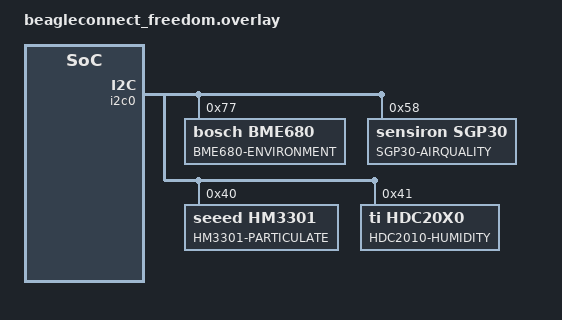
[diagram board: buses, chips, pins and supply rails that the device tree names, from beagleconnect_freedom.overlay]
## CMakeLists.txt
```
# SPDX-License-Identifier: Apache-2.0

cmake_minimum_required(VERSION 3.13.1)

find_package(Zephyr REQUIRED HINTS $ENV{ZEPHYR_BASE})
project(zperf)

target_sources(app PRIVATE
  src/main.c
  src/shell_utils.c
  src/zperf_session.c
  src/zperf_shell.c
  src/zperf_udp_receiver.c
  src/zperf_udp_uploader.c
  src/zperf_tcp_receiver.c
  src/zperf_tcp_uploader.c
  src/btn_actions.c
  src/shell_fbdev.c
  src/tft_terminal.c
  )

target_include_directories(app PRIVATE
  ${ZEPHYR_BASE}/subsys/net/ip
  )
  target_include_directories(app PRIVATE ${ZEPHYR_BASE}/drivers/display)
```

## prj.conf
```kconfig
CONFIG_SERIAL=y
CONFIG_SPI=y
CONFIG_I2C=y
CONFIG_GPIO=y
CONFIG_CONSOLE=y
CONFIG_UART_CONSOLE=y
CONFIG_CONSOLE_SUBSYS=y
CONFIG_CONSOLE_GETCHAR=y
CONFIG_ENTROPY_GENERATOR=y
# This does not seem to be working atm
# CONFIG_FLASH=y
# CONFIG_SPI_NOR=y
CONFIG_LED=y
CONFIG_LOG=y
CONFIG_LOG_IMMEDIATE=y
CONFIG_SHELL=y
CONFIG_GPIO_SHELL=y
CONFIG_SENSOR=y
CONFIG_OPT3001=y
CONFIG_LIS2DH=y
CONFIG_LIS2DH_OPER_MODE_LOW_POWER=n
CONFIG_HDC20X0=y
CONFIG_BME680=y
CONFIG_IEEE802154=y
CONFIG_NETWORKING=y
CONFIG_NET_HOSTNAME_ENABLE=y
CONFIG_NET_IF_UNICAST_IPV6_ADDR_COUNT=4
CONFIG_NET_IF_MCAST_IPV6_ADDR_COUNT=5
CONFIG_NET_SHELL=y
CONFIG_NET_TCP=y
CONFIG_NET_TCP1=y
CONFIG_NET_MAX_CONN=8
CONFIG_NET_MAX_CONTEXTS=5
CONFIG_NET_CONTEXT_SYNC_RECV=y
CONFIG_NET_CONTEXT_NET_PKT_POOL=y
CONFIG_NET_PKT_RX_COUNT=14
CONFIG_NET_PKT_TX_COUNT=128
CONFIG_NET_BUF_RX_COUNT=28
CONFIG_NET_BUF_TX_COUNT=128
CONFIG_NET_STATISTICS=y
CONFIG_NET_LOG=y
CONFIG_MDNS_RESPONDER=y
CONFIG_DNS_SD=y
CONFIG_NET_CONFIG_AUTO_INIT=y
CONFIG_NET_CONFIG_SETTINGS=y
CONFIG_NET_CONFIG_MY_IPV6_ADDR="2001:db8::1"
CONFIG_NET_CONFIG_PEER_IPV6_ADDR="2001:db8::2"
CONFIG_NET_SOCKETS=y
CONFIG_NET_SOCKETS_POSIX_NAMES=y
CONFIG_NET_SOCKETS_POLL_MAX=8
CONFIG_NET_CONNECTION_MANAGER=y
CONFIG_NET_CONFIG_NEED_IPV6=y
CONFIG_NET_CONFIG_NEED_IPV4=n
CONFIG_NET_L2_IEEE802154=y
CONFIG_NET_L2_IEEE802154_SHELL=y
CONFIG_NET_L2_IEEE802154_LOG_LEVEL_INF=y
CONFIG_NET_CONFIG_IEEE802154_CHANNEL=26
CONFIG_NET_CONFIG_IEEE802154_DEV_NAME="IEEE802154_0"
#CONFIG_NET_CONFIG_IEEE802154_CHANNEL=1
#CONFIG_NET_CONFIG_IEEE802154_DEV_NAME="IEEE802154_1"
CONFIG_IEEE802154_CC13XX_CC26XX=y
CONFIG_IEEE802154_CC13XX_CC26XX_SUB_GHZ=n
#CONFIG_IEEE802154_DRIVER_LOG_LEVEL_DBG=y
CONFIG_IEEE802154_DRIVER_LOG_LEVEL_WRN=y
#CONFIG_IEEE802154_CC13XX_CC26XX=n
#CONFIG_IEEE802154_CC13XX_CC26XX_SUB_GHZ=y

# Hacks
CONFIG_NEWLIB_LIBC=y
CONFIG_POSIX_MAX_FDS=16
CONFIG_PTHREAD_IPC=y
CONFIG_MAX_PTHREAD_COUNT=16
CONFIG_PTHREAD_DYNAMIC_STACK=y
CONFIG_NET_IPV6_FRAGMENT=y
CONFIG_NET_L2_IEEE802154_FRAGMENT_REASS_CACHE_SIZE=6
```

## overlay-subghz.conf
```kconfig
CONFIG_IEEE802154_CC13XX_CC26XX=n
CONFIG_IEEE802154_CC13XX_CC26XX_SUB_GHZ=y
CONFIG_NET_CONFIG_IEEE802154_DEV_NAME="IEEE802154_1"
CONFIG_NET_CONFIG_IEEE802154_CHANNEL=1
CONFIG_NET_CONFIG_IEEE802154_RADIO_TX_POWER=20
CONFIG_IEEE802154_CC13XX_CC26XX_SUB_GHZ_NUM_RX_BUF=6
CONFIG_IEEE802154_CC13XX_CC26XX_SUB_GHZ_DIV_SETUP_PA=1
```

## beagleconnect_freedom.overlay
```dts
/*
 * Copyright (c) 2020, Jason Kridner, BeagleBoard.org Foundation
 *
 * SPDX-License-Identifier: Apache-2.0
 */

&i2c0 {
	// Grove module defaults to 0x76
	// Environment Click defaults to 0x76
	environment: bme680@77 {
		compatible = "bosch,bme680";
		reg = <0x77>;
		label = "BME680-ENVIRONMENT";
	};

	airquality: sgp30@58 {
		compatible = "sensiron,sgp30";
		reg = <0x58>;
		label = "SGP30-AIRQUALITY";
	};

	particulate: hm3301@40 {
		compatible = "seeed,hm3301";
		reg = <0x40>;
		label = "HM3301-PARTICULATE";
	};
    	humidity: hdc2010-humidity@41 {
        	compatible = "ti,hdc20x0";
        	reg = <0x41>;
        	/* drdy-gpios = <&gpio0 7 GPIO_ACTIVE_LOW>; */
        	label = "HDC2010-HUMIDITY";
    	}; 
};
```

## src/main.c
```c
/*
 * Copyright (c) 2020 Nordic Semiconductor ASA
 *
 * SPDX-License-Identifier: Apache-2.0
 */

/**
 * @file
 * @brief Zperf sample.
 */


#include <zephyr.h>
#include <device.h>
#include <drivers/gpio.h>
#include <drivers/led.h>
#include <drivers/sensor.h>
#include <drivers/spi.h>
#include <stdio.h>
#include <stdbool.h>
#include <stdint.h>
#include <string.h>
#include <net/net_ip.h>
#include <net/socket.h>
#include <sys/util.h>
#include "shell/shell_uart.h"

#include "icmpv6.h"
#include "ipv6.h"
#include "connection.h"


#define LOG_LEVEL LOG_LEVEL_INF
#include <logging/log.h>
LOG_MODULE_REGISTER(rftest);


#include "net_private.h"

#define LED0_NODE DT_ALIAS(led0)
#define LED0	DT_GPIO_LABEL(LED0_NODE, gpios)
#define PIN	DT_GPIO_PIN(LED0_NODE, gpios)
#define FLAGS	DT_GPIO_FLAGS(LED0_NODE, gpios)

#define LED1_NODE DT_ALIAS(led1)
#define LED1	DT_GPIO_LABEL(LED1_NODE, gpios)
#define PIN1	DT_GPIO_PIN(LED1_NODE, gpios)
#define FLAGS1	DT_GPIO_FLAGS(LED1_NODE, gpios)


#define SW0_NODE	DT_ALIAS(sw0)
#define SW0_GPIO_LABEL	DT_GPIO_LABEL(SW0_NODE, gpios)
#define SW0_GPIO_PIN	DT_GPIO_PIN(SW0_NODE, gpios)
#define SW0_GPIO_FLAGS	(GPIO_INPUT | DT_GPIO_FLAGS(SW0_NODE, gpios))




static struct device *led0_d;
static struct device *led1_d;
static struct device *btn_d;
static bool led_is_on = true;
static struct k_delayed_work dwork;
static bool is_btn = false;

K_SEM_DEFINE(test_ping_timeout, 0, 1);
extern uint32_t z_impl_sys_rand32_get(void);

static enum net_verdict handle_ipv6_echo_reply(struct net_pkt *pkt,
					       struct net_ipv6_hdr *ip_hdr,
					       struct net_icmp_hdr *icmp_hdr)
{
	NET_PKT_DATA_ACCESS_CONTIGUOUS_DEFINE(icmp_access,
					      struct net_icmpv6_echo_req);
	struct net_icmpv6_echo_req *icmp_echo;
	uint32_t cycles;

	icmp_echo = (struct net_icmpv6_echo_req *)net_pkt_get_data(pkt,
								&icmp_access);
	if (icmp_echo == NULL) {
		return -NET_DROP;
	}

	net_pkt_skip(pkt, sizeof(*icmp_echo));
	if (net_pkt_read_be32(pkt, &cycles)) {
		return -NET_DROP;
	}

	cycles = k_cycle_get_32() - cycles;

	printk("%d bytes from %s to %s: icmp_seq=%d ttl=%d "
#ifdef CONFIG_IEEE802154
		 "rssi=%d "
#endif
#ifdef CONFIG_FPU
		 "time=%.2f ms\n",
#else
		 "time=%d ms\n",
#endif
		 ntohs(ip_hdr->len) - net_pkt_ipv6_ext_len(pkt) -
								NET_ICMPH_LEN,
		 net_sprint_ipv6_addr(&ip_hdr->src),
		 net_sprint_ipv6_addr(&ip_hdr->dst),
		 ntohs(icmp_echo->sequence),
		 ip_hdr->hop_limit,
#ifdef CONFIG_IEEE802154
		 net_pkt_ieee802154_rssi(pkt),
#endif
#ifdef CONFIG_FPU
		 ((uint32_t)k_cyc_to_ns_floor64(cycles) / 1000000.f));
#else
		 ((uint32_t)k_cyc_to_ns_floor64(cycles) / 1000000));
#endif
	k_sem_give(&test_ping_timeout);
	
	gpio_pin_set(led0_d, PIN, (int)led_is_on);
	led_is_on = !led_is_on;

	net_pkt_unref(pkt);
	return NET_OK;
}




static struct net_icmpv6_handler ping6_handler = {
	.type = NET_ICMPV6_ECHO_REPLY,
	.code = 0,
	.handler = handle_ipv6_echo_reply,
};


static inline void remove_ipv6_ping_handler(void)
{
	net_icmpv6_unregister_handler(&ping6_handler);
}

static int ping_ipv6(char *host,
		     unsigned int count,
		     unsigned int interval,
		     int iface_idx)
{
	struct net_if *iface = net_if_get_by_index(iface_idx);
	int ret = 0;
	struct in6_addr ipv6_target;
	struct net_nbr *nbr;


	if (net_addr_pton(AF_INET6, host, &ipv6_target) < 0) {
		return -EINVAL;
	}

	net_icmpv6_register_handler(&ping6_handler);

	if (!iface) {
		iface = net_if_ipv6_select_src_iface(&ipv6_target);
		if (!iface) {
			nbr = net_ipv6_nbr_lookup(NULL, &ipv6_target);
			if (nbr) {
				iface = nbr->iface;
			} else {
				iface = net_if_get_default();
			}
		}
	}

	printk("PING %s\n", host);

	for (int i = 0; i < count; ++i) {
		uint32_t time_stamp = htonl(k_cycle_get_32());

		ret = net_icmpv6_send_echo_request(iface,
						   &ipv6_target,
						   z_impl_sys_rand32_get(),
						   i,
						   &time_stamp,
						   sizeof(time_stamp));
		if (ret) {
			break;
		}

		k_msleep(interval);
	}

	remove_ipv6_ping_handler();

	return ret;
}


#define BLINK_MS 500


static void ping_work_handler(struct k_work *work){
	ARG_UNUSED(work);
	int r;

	char ip[] = CONFIG_NET_CONFIG_PEER_IPV6_ADDR;
	ping_ipv6(ip,1,100,0);
	if(is_btn == false){
		r = k_delayed_work_submit(&dwork, K_MSEC(BLINK_MS));
		__ASSERT(r == 0, "k_delayed_work_submit() failed for LED work: %d", r);
	}
}

static struct gpio_callback button_cb_data;

void button_pressed(const struct device *dev, struct gpio_callback *cb,
		    uint32_t pins)
{
	is_btn = true;
	printk("Button pressed at %" PRIu32 "\n", k_cycle_get_32());

	gpio_pin_set(led1_d, PIN1, true);
}


void main(void)
{
#if 1
	int r;
	const struct shell *sh;
	bool is_zperf_server = true;

	led0_d =  (struct device *)device_get_binding( DT_GPIO_LABEL(DT_ALIAS(led0), gpios));
	gpio_pin_configure(led0_d, PIN, GPIO_OUTPUT_ACTIVE | FLAGS);

	led1_d =  (struct device *)device_get_binding( DT_GPIO_LABEL(DT_ALIAS(led1), gpios));
	gpio_pin_configure(led1_d, PIN1, GPIO_OUTPUT_ACTIVE | FLAGS1);
	gpio_pin_set(led1_d, PIN1, false);


	sh = (const struct shell *)shell_backend_uart_get_ptr();
	btn_d = device_get_binding(SW0_GPIO_LABEL);
	if (btn_d == NULL) {
		printk("Error: didn't find %s device\n", SW0_GPIO_LABEL);
		return;
	}

	r = gpio_pin_configure(btn_d, SW0_GPIO_PIN, SW0_GPIO_FLAGS);
	if (r != 0) {
		printk("Error %d: failed to configure %s pin %d\n",
		       r, SW0_GPIO_LABEL, SW0_GPIO_PIN);
		return;
	}

	r = gpio_pin_interrupt_configure(btn_d,
					   SW0_GPIO_PIN,
					   GPIO_INT_EDGE_TO_ACTIVE);
	if (r != 0) {
		printk("Error %d: failed to configure interrupt on %s pin %d\n",
			r, SW0_GPIO_LABEL, SW0_GPIO_PIN);
		return;
	}

	gpio_init_callback(&button_cb_data, button_pressed, BIT(SW0_GPIO_PIN));
	gpio_add_callback(btn_d, &button_cb_data);
	printk("Set up button at %s pin %d\n", SW0_GPIO_LABEL, SW0_GPIO_PIN);


	dwork.work.handler = ping_work_handler;
	r = k_delayed_work_submit(&dwork, K_MSEC(BLINK_MS));
	__ASSERT(r == 0, "k_delayed_work_submit() failed for LED work: %d", r);
	for (;;) {
		if (is_btn){
			if (is_zperf_server){
				is_zperf_server = false;
				shell_execute_cmd(sh, "zperf udp download 5001");
			}	
		}
		k_sleep(K_MSEC(1000));
	}
#endif 
}



// #include <usb/usb_device.h>
// #include <net/net_config.h>

// void main(void)
// {
// #if defined(CONFIG_USB)
// 	int ret;

// 	ret = usb_enable(NULL);
// 	if (ret != 0) {
// 		printk("usb enable error %d\n", ret);
// 	}

// 	(void)net_config_init_app(NULL, "Initializing network");
// #endif /* CONFIG_USB */
// }
```

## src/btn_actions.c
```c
#include <zephyr.h>
#include <device.h>
#include <drivers/gpio.h>
#include <sys/util.h>
#include <sys/printk.h>
#include <inttypes.h>
#include <shell/shell.h>
#include <shell/shell_uart.h>

/*
 * Get button configuration from the devicetree sw0 alias.
 *
 * At least a GPIO device and pin number must be provided. The 'flags'
 * cell is optional.
 */

#define SW0_NODE	DT_ALIAS(sw1)
#define SW0_GPIO_LABEL	DT_GPIO_LABEL(SW0_NODE, gpios)
#define SW0_GPIO_PIN	DT_GPIO_PIN(SW0_NODE, gpios)
#define SW0_GPIO_FLAGS	(GPIO_INPUT | DT_GPIO_FLAGS(SW0_NODE, gpios))

#define SW1_NODE	DT_ALIAS(sw2)
#define SW1_GPIO_LABEL	DT_GPIO_LABEL(SW1_NODE, gpios)
#define SW1_GPIO_PIN	DT_GPIO_PIN(SW1_NODE, gpios)
#define SW1_GPIO_FLAGS	(GPIO_INPUT | DT_GPIO_FLAGS(SW0_NODE, gpios))

#define SW2_NODE	DT_ALIAS(sw3)
#define SW2_GPIO_LABEL	DT_GPIO_LABEL(SW2_NODE, gpios)
#define SW2_GPIO_PIN	DT_GPIO_PIN(SW2_NODE, gpios)
#define SW2_GPIO_FLAGS	(GPIO_INPUT | DT_GPIO_FLAGS(SW2_NODE, gpios))

static struct gpio_callback button1_cb_data;
static struct gpio_callback button2_cb_data;
static struct gpio_callback button3_cb_data;
static bool is_button1 = false;
static bool is_button2 = false;
static bool is_button3 = false;
void button1_pressed(const struct device *dev, struct gpio_callback *cb,
		    uint32_t pins)
{
	printk("Button1 pressed at %" PRIu32 "\n", k_cycle_get_32());
	is_button3 = true;
}

void button2_pressed(const struct device *dev, struct gpio_callback *cb,
		    uint32_t pins)
{
	printk("Button2 pressed at %" PRIu32 "\n", k_cycle_get_32());
	is_button2 = true;
}

void button3_pressed(const struct device *dev, struct gpio_callback *cb,
		    uint32_t pins)
{
	printk("Button3 pressed at %" PRIu32 "\n", k_cycle_get_32());
	is_button1 = true;
}


void btn_init(){
	const struct device *button1;
	const struct device *button2;
	const struct device *button3;
	int ret;
	button1 = device_get_binding(SW0_GPIO_LABEL);
	if (button1 == NULL) {
		printk("Error: didn't find %s device\n", SW0_GPIO_LABEL);
		return;
	}
	button2 = device_get_binding(SW1_GPIO_LABEL);
	if (button2 == NULL) {
		printk("Error: didn't find %s device\n", SW1_GPIO_LABEL);
		return;
	}
	button3 = device_get_binding(SW2_GPIO_LABEL);
	if (button3 == NULL) {
		printk("Error: didn't find %s device\n", SW2_GPIO_LABEL);
		return;
	}



	ret = gpio_pin_configure(button1, SW0_GPIO_PIN, SW0_GPIO_FLAGS);
	ret = gpio_pin_configure(button2, SW1_GPIO_PIN, SW1_GPIO_FLAGS);
	ret = gpio_pin_configure(button3, SW2_GPIO_PIN, SW2_GPIO_FLAGS);

	ret = gpio_pin_interrupt_configure(button1,
					   SW0_GPIO_PIN,
					   GPIO_INT_EDGE_TO_ACTIVE);

	ret = gpio_pin_interrupt_configure(button2,
					   SW1_GPIO_PIN,
					   GPIO_INT_EDGE_TO_ACTIVE);

	ret = gpio_pin_interrupt_configure(button3,
					   SW2_GPIO_PIN,
					   GPIO_INT_EDGE_TO_ACTIVE);

	gpio_init_callback(&button1_cb_data, button1_pressed, BIT(SW0_GPIO_PIN));
	gpio_init_callback(&button2_cb_data, button2_pressed, BIT(SW1_GPIO_PIN));
	gpio_init_callback(&button3_cb_data, button3_pressed, BIT(SW2_GPIO_PIN));
	gpio_add_callback(button1, &button1_cb_data);
	gpio_add_callback(button2, &button2_cb_data);
	gpio_add_callback(button3, &button3_cb_data);
}
void btn_loop(const struct shell *sh){
 	while (1) {
		 if (is_button1)
		 {
			 shell_execute_cmd(sh, "net ping -c 10 "CONFIG_NET_CONFIG_PEER_IPV6_ADDR);
			 is_button1 = false;
		 }
		 if (is_button2)
		 {
			shell_execute_cmd(sh, "zperf udp upload 2001:db8::1 5001 10 16 4K");
			//shell_execute_cmd(sh, "zperf udp download 5001");
			 is_button2 = false;
		 }
		 if (is_button3)
		 {
			 shell_execute_cmd(sh, "ieee802154 set_tx_power 20");
			 is_button3 = false;
		 }
		 		 		 
		// sprintf(count_str,"hello world .... %d\n",count);
		// printString(display_dev,count_str);
		k_sleep(K_MSEC(100));
		// shell_execute_cmd(sh, "net ping -c 10 2001:db8::1");
	 }
}
```

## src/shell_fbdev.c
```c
/*
 * Shell backend used for testing
 *
 * Copyright (c) 2018 Nordic Semiconductor ASA
 *
 * SPDX-License-Identifier: Apache-2.0
 */

#include "shell_fbdev.h"
#include <init.h>
#include <drivers/display.h>

SHELL_fbdev_DEFINE(shell_transport_fbdev);
SHELL_DEFINE(shell_fbdev, "fbev:~$ ", &shell_transport_fbdev, 
			CONFIG_SHELL_BACKEND_SERIAL_LOG_MESSAGE_QUEUE_SIZE,
	     	CONFIG_SHELL_BACKEND_SERIAL_LOG_MESSAGE_QUEUE_TIMEOUT, SHELL_FLAG_OLF_CRLF);


#if DT_NODE_HAS_STATUS(DT_INST(0, ilitek_ili9340), okay)
#define DISPLAY_DEV_NAME DT_LABEL(DT_INST(0, ilitek_ili9340))
#endif


extern void setupScroll(const struct device *display_dev, uint16_t tfa, uint16_t bfa) ;
extern void printString(const struct device *display_dev, const char *str);
extern void clearscreen(const struct device *display_dev, int16_t color);


static int init(const struct shell_transport *transport,
		const void *config,
		shell_transport_handler_t evt_handler,
		void *context)
{
	struct shell_fbdev *sh_fbdev = (struct shell_fbdev *)transport->ctx;

	if (sh_fbdev->initialized) {
		return -EINVAL;
	}
	return 0;
}

static int uninit(const struct shell_transport *transport)
{
	struct shell_fbdev *sh_fbdev = (struct shell_fbdev *)transport->ctx;

	if (!sh_fbdev->initialized) {
		return -ENODEV;
	}

	sh_fbdev->initialized = false;

	return 0;
}

static int enable(const struct shell_transport *transport, bool blocking)
{
	struct shell_fbdev *sh_fbdev = (struct shell_fbdev *)transport->ctx;

	if (!sh_fbdev->initialized) {
		return -ENODEV;
	}

	return 0;
}

static int write(const struct shell_transport *transport,
		 const void *data, size_t length, size_t *cnt)
{
	struct shell_fbdev *sh_fbdev = (struct shell_fbdev *)transport->ctx;

	const uint8_t *data8 = (const uint8_t *)data;
	if (!sh_fbdev->initialized) {

		sh_fbdev->display_dev = device_get_binding(DISPLAY_DEV_NAME);

		if (sh_fbdev->display_dev == NULL) {
			return -ENODEV;
		}
		display_blanking_off(sh_fbdev->display_dev);
		display_set_pixel_format(sh_fbdev->display_dev, PIXEL_FORMAT_RGB_565);
		clearscreen(sh_fbdev->display_dev,0x0000);
		setupScroll(sh_fbdev->display_dev,0,0);
		sh_fbdev->initialized = true;
	}
	printString(sh_fbdev->display_dev, data8);
	*cnt = length;

	return 0;
}

static int read(const struct shell_transport *transport,
		void *data, size_t length, size_t *cnt)
{
	struct shell_fbdev *sh_fbdev = (struct shell_fbdev *)transport->ctx;

	if (!sh_fbdev->initialized) {
		return -ENODEV;
	}
	*cnt = 0;

	return 0;
}

const struct shell_transport_api shell_fbdev_transport_api = {
	.init = init,
	.uninit = uninit,
	.enable = enable,
	.write = write,
	.read = read
};

int enable_shell_fbdev(const struct device *arg)
{
	ARG_UNUSED(arg);
	shell_init(&shell_fbdev, NULL, true, true, LOG_LEVEL_INF);
	return 0;
}
//CONFIG_SHELL_BACKEND_FBDEV_INIT_PRIORITY=1
SYS_INIT(enable_shell_fbdev, APPLICATION, 96);


const struct shell *shell_backend_fbdev_get_ptr(void)
{
	return &shell_fbdev;
}



void shell_backend_fbdev_clear_output(const struct shell *shell)
{
	struct shell_fbdev *sh_fbdev = (struct shell_fbdev *)shell->iface->ctx;
	clearscreen(sh_fbdev->display_dev,0x0000);
}
```

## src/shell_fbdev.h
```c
/*
 * Shell backend used for testing
 *
 * Copyright (c) 2018 Nordic Semiconductor ASA
 *
 * SPDX-License-Identifier: Apache-2.0
 */

#ifndef SHELL_fbdev_H__
#define SHELL_fbdev_H__

#include <shell/shell.h>

#ifdef __cplusplus
extern "C" {
#endif

extern const struct shell_transport_api shell_fbdev_transport_api;

struct shell_fbdev {
	bool initialized;
	const struct device *display_dev;
};

#define SHELL_fbdev_DEFINE(_name)					\
	static struct shell_fbdev _name##_shell_fbdev;			\
	struct shell_transport _name = {				\
		.api = &shell_fbdev_transport_api,			\
		.ctx = (struct shell_fbdev *)&_name##_shell_fbdev	\
	}


/**
 * @brief This function shall not be used directly. It provides pointer to shell
 *	  fbdev backend instance.
 *
 * Function returns pointer to the shell fbdev instance. This instance can be
 * next used with shell_execute_cmd function in order to test commands behavior.
 *
 * @returns Pointer to the shell instance.
 */
const struct shell *shell_backend_fbdev_get_ptr(void);

void shell_backend_fbdev_clear_output(const struct shell *shell);

#ifdef __cplusplus
}
#endif

#endif /* SHELL_fbdev_H__ */
```

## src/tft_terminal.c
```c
#include "display_ili9xxx.h"
#include <device.h>
#include <drivers/display.h>
#include <ctype.h>

#define LOG_LEVEL CONFIG_LOG_DEFAULT_LEVEL
#include <logging/log.h>
LOG_MODULE_REGISTER(tft);

#define ILI9341_VSCRDEF 0x33
#define ILI9341_VSCRSADD 0x37
#define ILI9341_BLACK 0x0000
#define ILI9341_WHITE 0xffff

int xp = 0;
int yp = 0;
uint16_t bg = ILI9341_BLACK;
uint16_t fg = ILI9341_WHITE;
int screenWd = 240;
int screenHt = 320;
int wrap = 0;
int bold = 0;
int sx = 1;
int sy = 1;
int horizontal = -1;
int scrollMode = 0;

#define WRAP_PIN BCM18
#define HORIZ_PIN BCM23
//#define TFT_CS      PA4
//#define TFT_DC      PA12
//#define TFT_RST     PA11

// Uncomment below the font you find the most readable for you
// 7x8 bold - perfect for small term font
#include "font_b7x8.h"
const uint16_t *fontRects = font_b7x8_Rects;
const uint16_t *fontOffs = font_b7x8_CharOffs;
int charWd = 7;
int charHt = 10; // real 8
int charYoffs = 1;

// 7x8 - perfect for small terminal font
//#include "font_7x8.h"
// const uint16_t *fontRects = font_7x8_Rects;
// const uint16_t *fontOffs = font_7x8_CharOffs;
// int charWd = 7;
// int charHt = 10; // real 8
// int charYoffs = 1;

// 6x8
//#include "font_6x8.h"
// const uint16_t *fontRects = font_6x8_Rects;
// const uint16_t *fontOffs = font_6x8_CharOffs;
// int charWd = 6;
// int charHt = 9; // real 8
// int charYoffs = 1;

// nice 8x16 vga terminal font
//#include "font_term_8x16.h"
// const uint16_t *fontRects = wlcd_font_term_8x16_0_127_Rects;
// const uint16_t *fontOffs = wlcd_font_term_8x16_0_127_CharOffs;
// int charWd = 8;
// int charHt = 16;
// int charYoffs = 0;

// nice big for terminal
//#include "font_fxs_8x15.h"
// const uint16_t *fontRects = wlcd_font_fxs_8x15_16_127_Rects;
// const uint16_t *fontOffs = wlcd_font_fxs_8x15_16_127_CharOffs;
// int charWd = 8;
// int charHt = 15; // real 15
// int charYoffs = 0;

// my nice 10x16 term
//#include "font_term_10x16.h"
// const uint16_t *fontRects = font_term_10x16_Rects;
// const uint16_t *fontOffs = font_term_10x16_CharOffs;
// int charWd = 10;
// int charHt = 16;
// int charYoffs = 0;

void tft_fillRect(const struct device *display_dev, int32_t x, int32_t y,
                  int32_t w, int32_t h, uint16_t color) {
  struct display_buffer_descriptor buf_desc;
  buf_desc.buf_size = w * h * 2;
  buf_desc.pitch = w;
  buf_desc.width = w;
  buf_desc.height = h;

  uint8_t *buf;
  buf = k_malloc(buf_desc.buf_size);
  for (size_t idx = 0; idx < buf_desc.buf_size; idx += 2) {
    *(buf + idx + 0) = (color >> 8) & 0xFFu;
    *(buf + idx + 1) = (color >> 0) & 0xFFu;
  }

  display_write(display_dev, x, y, &buf_desc, buf);
  k_free(buf);
}


void setupScroll(const struct device *display_dev, uint16_t tfa, uint16_t bfa) {
  uint8_t ctr1[6] = {tfa >> 8,        tfa,      (320 - tfa - bfa) >> 8,
                     320 - tfa - bfa, bfa >> 8, bfa};
  ili9xxx_transmit(display_dev, ILI9341_VSCRDEF, ctr1, 6);
}

void scrollFrame(const struct device *display_dev, uint16_t vsp) {
  uint8_t ctr1[2] = {vsp >> 8, vsp};
  ili9xxx_transmit(display_dev, ILI9341_VSCRSADD, ctr1, 2);
}

void clearscreen(const struct device *display_dev, int16_t color) {
  struct display_buffer_descriptor buf_desc;
  uint8_t *buf;
  size_t buf_size = 0;

  buf_size = 320 * 2;
  buf = k_malloc(buf_size);
  (void)memset(buf, color, buf_size);

  buf_desc.buf_size = buf_size;
  buf_desc.pitch = 240;
  buf_desc.width = 240;
  buf_desc.height = 1;

  for (int idx = 0; idx < 320; idx += 1) {
    display_write(display_dev, 0, idx, &buf_desc, buf);
  }
  k_free(buf);
}


void drawChar(const struct device *display_dev, int16_t x, int16_t y,
              unsigned char c, uint16_t color, uint16_t bg, uint8_t sx,
              uint8_t sy) {
  if ((x >= screenWd) ||             // Clip right
      (y >= screenHt) ||             // Clip bottom
      ((x + charWd * sx - 1) < 0) || // Clip left
      ((y + charHt * sy - 1) < 0))   // Clip top
    return;
  if (c > 127)
    return;
  uint16_t recIdx = fontOffs[c];
  uint16_t recNum = fontOffs[c + 1] - recIdx;
  if (bg && bg != color)
    tft_fillRect(display_dev, x, y, charWd * sx, charHt * sy, bg);
  if (charWd <= 16 && charHt <= 16)
    for (int i = 0; i < recNum; i++) {
      int v = fontRects[i + recIdx];
      int xf = v & 0xf;
      int yf = charYoffs + ((v & 0xf0) >> 4);
      int wf = 1 + ((v & 0xf00) >> 8);
      int hf = 1 + ((v & 0xf000) >> 12);
      tft_fillRect(display_dev, x + xf * sx, y + yf * sy, bold + wf * sx,
                   hf * sy, color);
    }
  else
    for (int i = 0; i < recNum; i++) {
      uint8_t *rects = (uint8_t *)fontRects;
      int idx = (i + recIdx) * 3;
      int xf = rects[idx + 0] & 0x3f;
      int yf = rects[idx + 1] & 0x3f;
      int wf = 1 + (rects[idx + 2] & 0x3f);
      int hf =
          1 + (((rects[idx + 0] & 0xc0) >> 6) | ((rects[idx + 1] & 0xc0) >> 4) |
               ((rects[idx + 2] & 0xc0) >> 2));
      tft_fillRect(display_dev, x + xf * sx, y + yf * sy, bold + wf * sx,
                   hf * sy, color);
    }
}

void scroll(const struct device *display_dev) {
  xp = 0;
  yp += charHt * sy;
  if (yp + charHt > screenHt)
    yp = 0;
  tft_fillRect(display_dev, 0, yp, screenWd, charHt * sy, ILI9341_BLACK);
  if (scrollMode)
    scrollFrame(display_dev, 320 - yp - charHt * sy);
  else
    scrollFrame(display_dev, 0);
}

int escMode = 0;
int nVals = 0;
int vals[10] = {0};

void printChar(const struct device *display_dev, char c) {
  if (c == 0x1b) {
    escMode = 1;
    return;
  }
  if (escMode == 1) {
    if (c == '[') {
      escMode = 2;
      nVals = 0;
    } else
      escMode = 0;
    return;
  }
  if (escMode == 2) {
    if (isdigit(c))
      vals[nVals] = vals[nVals] * 10 + (c - '0');
    else if (c == ';')
      nVals++;
    else if (c == 'm') {
      escMode = 0;
      nVals++;
      for (int i = 0; i < nVals; i++) {
        int v = vals[i];
        static const uint16_t colors[] = {
            0x0000, // 0-black
            0xf800, // 1-red
            0x0780, // 2-green
            0xfe00, // 3-yellow
            0x001f, // 4-blue
            0xf81f, // 5-magenta
            0x07ff, // 6-cyan
            0xffff  // 7-white
        };
        if (v == 0) { // all attributes off
          if (nVals == 1) {
            fg = ILI9341_WHITE;
            bg = ILI9341_BLACK;
          }
          bold = 0;
        } else if (v == 1) { // all attributes off
          bold = 1;
        } else if (v >= 30 && v < 38) { // fg colors
          fg = colors[v - 30];
        } else if (v >= 40 && v < 48) {
          bg = colors[v - 40];
        }
      }
      vals[0] = vals[1] = vals[2] = vals[3] = 0;
      nVals = 0;
    } else {
      escMode = 0;
      vals[0] = vals[1] = vals[2] = vals[3] = 0;
      nVals = 0;
    }
    return;
  }
  if (c == 10) {
    scroll(display_dev);
    return;
  }
  if (c == 13) {
    xp = 0;
    return;
  }
  if (c == 8) {
    if (xp > 0)
      xp -= charWd * sx;
    tft_fillRect(display_dev, xp, yp, charWd * sx, charHt * sy, ILI9341_BLACK);
    return;
  }
  if (xp < screenWd)
    drawChar(display_dev, xp, yp, c, fg, bg, sx, sy);
  xp += charWd * sx;
  if (xp >= screenWd && wrap)
    scroll(display_dev);
}

void printString(const struct device *display_dev, const char *str) {
  while (*str)
    printChar(display_dev, *str++);
}
```

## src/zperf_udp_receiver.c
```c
/*
 * Copyright (c) 2016 Intel Corporation
 *
 * SPDX-License-Identifier: Apache-2.0
 */

#include <logging/log.h>
LOG_MODULE_DECLARE(net_zperf_sample, LOG_LEVEL_DBG);

#include <linker/sections.h>
#include <toolchain.h>

#include <zephyr.h>
#include <sys/printk.h>

#include <net/net_core.h>
#include <net/net_pkt.h>
#include <net/udp.h>

#include "zperf.h"
#include "zperf_internal.h"
#include "shell_utils.h"
#include "zperf_session.h"

/* To get net_sprint_ipv{4|6}_addr() */
#define NET_LOG_ENABLED 1
#include "net_private.h"

static struct sockaddr_in6 *in6_addr_my;
static struct sockaddr_in *in4_addr_my;

static inline void set_dst_addr(const struct shell *shell,
				sa_family_t family,
				struct net_pkt *pkt,
				union net_ip_header *ip_hdr,
				struct net_udp_hdr *udp_hdr,
				struct sockaddr *dst_addr)
{
	if (IS_ENABLED(CONFIG_NET_IPV6) && family == AF_INET6) {
		net_ipaddr_copy(&net_sin6(dst_addr)->sin6_addr,
				&ip_hdr->ipv6->src);
		net_sin6(dst_addr)->sin6_family = AF_INET6;
		net_sin6(dst_addr)->sin6_port = udp_hdr->src_port;
	}

	if (IS_ENABLED(CONFIG_NET_IPV4) && family == AF_INET) {
		net_ipaddr_copy(&net_sin(dst_addr)->sin_addr,
				&ip_hdr->ipv4->src);
		net_sin(dst_addr)->sin_family = AF_INET;
		net_sin(dst_addr)->sin_port = udp_hdr->src_port;
	}
}

static inline void build_reply(struct zperf_udp_datagram *hdr,
			       struct zperf_server_hdr *stat,
			       uint8_t *buf)
{
	int pos = 0;
	struct zperf_server_hdr *stat_hdr;

	memcpy(&buf[pos], hdr, sizeof(struct zperf_udp_datagram));
	pos += sizeof(struct zperf_udp_datagram);

	stat_hdr = (struct zperf_server_hdr *)&buf[pos];

	stat_hdr->flags = htonl(stat->flags);
	stat_hdr->total_len1 = htonl(stat->total_len1);
	stat_hdr->total_len2 = htonl(stat->total_len2);
	stat_hdr->stop_sec = htonl(stat->stop_sec);
	stat_hdr->stop_usec = htonl(stat->stop_usec);
	stat_hdr->error_cnt = htonl(stat->error_cnt);
	stat_hdr->outorder_cnt = htonl(stat->outorder_cnt);
	stat_hdr->datagrams = htonl(stat->datagrams);
	stat_hdr->jitter1 = htonl(stat->jitter1);
	stat_hdr->jitter2 = htonl(stat->jitter2);
}

/* Send statistics to the remote client */
#define BUF_SIZE sizeof(struct zperf_udp_datagram) +	\
	sizeof(struct zperf_server_hdr)

static int zperf_receiver_send_stat(const struct shell *shell,
				    struct net_context *context,
				    struct net_pkt *pkt,
				    union net_ip_header *ip_hdr,
				    struct net_udp_hdr *udp_hdr,
				    struct zperf_udp_datagram *hdr,
				    struct zperf_server_hdr *stat)
{
	uint8_t reply[BUF_SIZE];
	struct sockaddr dst_addr;
	int ret;

	shell_fprintf(shell, SHELL_NORMAL,
		      "Received %d bytes\n", net_pkt_remaining_data(pkt));

	set_dst_addr(shell, net_pkt_family(pkt),
		     pkt, ip_hdr, udp_hdr, &dst_addr);

	build_reply(hdr, stat, reply);

	ret = net_context_sendto(context, reply, BUF_SIZE, &dst_addr,
				 net_pkt_family(pkt) == AF_INET6 ?
				 sizeof(struct sockaddr_in6) :
				 sizeof(struct sockaddr_in),
				 NULL, K_NO_WAIT, NULL);
	if (ret < 0) {
		shell_fprintf(shell, SHELL_WARNING,
			      " Cannot send data to peer (%d)", ret);
	}

	return ret;
}

static void udp_received(struct net_context *context,
			 struct net_pkt *pkt,
			 union net_ip_header *ip_hdr,
			 union net_proto_header *proto_hdr,
			 int status,
			 void *user_data)
{
	NET_PKT_DATA_ACCESS_DEFINE(zperf, struct zperf_udp_datagram);
	struct net_udp_hdr *udp_hdr = proto_hdr->udp;
	const struct shell *shell = user_data;
	struct zperf_udp_datagram *hdr;
	struct session *session;
	int32_t transit_time;
	int64_t time;
	int32_t id;

	if (!pkt) {
		return;
	}

	hdr = (struct zperf_udp_datagram *)net_pkt_get_data(pkt, &zperf);
	if (!hdr) {
		shell_fprintf(shell, SHELL_WARNING,
			      "Short iperf packet!\n");
		goto out;
	}

	time = k_uptime_ticks();

	session = get_session(pkt, ip_hdr, proto_hdr, SESSION_UDP);
	if (!session) {
		shell_fprintf(shell, SHELL_WARNING,
			      "Cannot get a session!\n");
		goto out;
	}

	id = ntohl(hdr->id);

	switch (session->state) {
	case STATE_COMPLETED:
	case STATE_NULL:
		if (id < 0) {
			/* Session is already completed: Resend the stat packet
			 * and continue
			 */
			if (zperf_receiver_send_stat(shell, context, pkt,
						     ip_hdr, udp_hdr, hdr,
						     &session->stat) < 0) {
				shell_fprintf(shell, SHELL_WARNING,
					      "Failed to send the packet\n");
			}
		} else {
			/* Start a new session! */
			shell_fprintf(shell, SHELL_NORMAL,
				      "New session started.\n");

			zperf_reset_session_stats(session);
			session->state = STATE_ONGOING;
			session->start_time = time;
		}
		break;
	case STATE_ONGOING:
		if (id < 0) { /* Negative id means session end. */
			uint32_t rate_in_kbps;
			uint32_t duration;

			shell_fprintf(shell, SHELL_NORMAL, "End of session!\n");

			duration = k_ticks_to_us_ceil32(time -
							session->start_time);

			/* Update state machine */
			session->state = STATE_COMPLETED;

			/* Compute baud rate */
			if (duration != 0U) {
				rate_in_kbps = (uint32_t)
					((session->length * 8ULL *
					  (uint64_t)USEC_PER_SEC) /
					 ((uint64_t)duration * 1024ULL));
			} else {
				rate_in_kbps = 0U;
			}

			/* Fill statistics */
			session->stat.flags = 0x80000000;
			session->stat.total_len1 = session->length >> 32;
			session->stat.total_len2 =
				session->length % 0xFFFFFFFF;
			session->stat.stop_sec = duration / USEC_PER_SEC;
			session->stat.stop_usec = duration % USEC_PER_SEC;
			session->stat.error_cnt = session->error;
			session->stat.outorder_cnt = session->outorder;
			session->stat.datagrams = session->counter;
			session->stat.jitter1 = 0;
			session->stat.jitter2 = session->jitter;

			if (zperf_receiver_send_stat(shell, context, pkt,
						     ip_hdr, udp_hdr, hdr,
						     &session->stat) < 0) {
				shell_fprintf(shell, SHELL_WARNING,
					    "Failed to send the packet\n");
			}

			shell_fprintf(shell, SHELL_NORMAL,
				      " duration: ");
			print_number(shell, duration, TIME_US, TIME_US_UNIT);
			shell_fprintf(shell, SHELL_NORMAL, "\n");

			shell_fprintf(shell, SHELL_NORMAL,
				      " received packets: %u\n",
				      session->counter);
			shell_fprintf(shell, SHELL_NORMAL,
				      " nb packets lost: %u\n",
				      session->outorder);
			shell_fprintf(shell, SHELL_NORMAL,
				      " nb packets outorder: %u\n",
				      session->error);

			shell_fprintf(shell, SHELL_NORMAL,
				      " jitter: \t\t\t");
			print_number(shell, session->jitter, TIME_US,
				     TIME_US_UNIT);
			shell_fprintf(shell, SHELL_NORMAL, "\n");

			shell_fprintf(shell, SHELL_NORMAL,
				      " rate: ");
			print_number(shell, rate_in_kbps, KBPS, KBPS_UNIT);
			shell_fprintf(shell, SHELL_NORMAL, "\n");
		} else {
			/* Update counter */
			session->counter++;
			session->length += net_pkt_remaining_data(pkt);

			/* Compute jitter */
			transit_time = time_delta(
				k_ticks_to_us_ceil32(time),
				ntohl(hdr->tv_sec) * USEC_PER_SEC +
				ntohl(hdr->tv_usec));
			if (session->last_transit_time != 0) {
				int32_t delta_transit = transit_time -
					session->last_transit_time;

				delta_transit =
					(delta_transit < 0) ?
					-delta_transit : delta_transit;

				session->jitter +=
					(delta_transit - session->jitter) / 16;
			}

			session->last_transit_time = transit_time;

			/* Check header id */
			if (id != session->next_id) {
				if (id < session->next_id) {
					session->outorder++;
				} else {
					session->error += id - session->next_id;
					session->next_id = id + 1;
				}
			} else {
				session->next_id++;
			}
		}
		break;
	default:
		break;
	}

out:
	net_pkt_unref(pkt);
}

void zperf_udp_receiver_init(const struct shell *shell, int port)
{
	struct net_context *context4 = NULL;
	struct net_context *context6 = NULL;
	const struct in_addr *in4_addr = NULL;
	const struct in6_addr *in6_addr = NULL;
	int ret;

	if (IS_ENABLED(CONFIG_NET_IPV6)) {
		in6_addr_my = zperf_get_sin6();
	}

	if (IS_ENABLED(CONFIG_NET_IPV4)) {
		in4_addr_my = zperf_get_sin();
	}


	if (IS_ENABLED(CONFIG_NET_IPV4)) {
		ret = net_context_get(AF_INET, SOCK_DGRAM, IPPROTO_UDP,
				      &context4);
		if (ret < 0) {
			shell_fprintf(shell, SHELL_WARNING,
				      "Cannot get IPv4 network context.\n");
			return;
		}

		if (MY_IP4ADDR && strlen(MY_IP4ADDR)) {
			/* Use setting IP */
			ret = zperf_get_ipv4_addr(shell, MY_IP4ADDR,
						  &in4_addr_my->sin_addr);
			if (ret < 0) {
				shell_fprintf(shell, SHELL_WARNING,
					      "Unable to set IPv4\n");
				goto use_existing_ipv4;
			}
		} else {
		use_existing_ipv4:
			/* Use existing IP */
			in4_addr = zperf_get_default_if_in4_addr();
			if (!in4_addr) {
				shell_fprintf(shell, SHELL_WARNING,
					      "Unable to get IPv4 by default\n");
				return;
			}
			memcpy(&in4_addr_my->sin_addr, in4_addr,
				sizeof(struct in_addr));
		}

		shell_fprintf(shell, SHELL_NORMAL, "Binding to %s\n",
			      net_sprint_ipv4_addr(&in4_addr_my->sin_addr));

		in4_addr_my->sin_port = htons(port);

		if (context4) {
			ret = net_context_bind(context4,
					       (struct sockaddr *)in4_addr_my,
					       sizeof(struct sockaddr_in));
			if (ret < 0) {
				shell_fprintf(shell, SHELL_WARNING,
					 "Cannot bind IPv4 UDP port %d (%d)\n",
					      ntohs(in4_addr_my->sin_port),
					      ret);
				return;
			}
		}
	}

	if (IS_ENABLED(CONFIG_NET_IPV6)) {
		ret = net_context_get(AF_INET6, SOCK_DGRAM, IPPROTO_UDP,
				      &context6);
		if (ret < 0) {
			shell_fprintf(shell, SHELL_WARNING,
				      "Cannot get IPv6 network context.\n");
			return;
		}

		if (MY_IP6ADDR && strlen(MY_IP6ADDR)) {
			/* Use setting IP */
			ret = zperf_get_ipv6_addr(shell, MY_IP6ADDR,
						  MY_PREFIX_LEN_STR,
						  &in6_addr_my->sin6_addr);
			if (ret < 0) {
				shell_fprintf(shell, SHELL_WARNING,
					      "Unable to set IPv6\n");
				goto use_existing_ipv6;
			}
		} else {
		use_existing_ipv6:
			/* Use existing IP */
			in6_addr = zperf_get_default_if_in6_addr();
			if (!in6_addr) {
				shell_fprintf(shell, SHELL_WARNING,
					      "Unable to get IPv4 by default\n");
				return;
			}
			memcpy(&in6_addr_my->sin6_addr, in6_addr,
				sizeof(struct in6_addr));
		}

		shell_fprintf(shell, SHELL_NORMAL, "Binding to %s\n",
			      net_sprint_ipv6_addr(&in6_addr_my->sin6_addr));

		in6_addr_my->sin6_port = htons(port);

		if (context6) {
			ret = net_context_bind(context6,
					       (struct sockaddr *)in6_addr_my,
					       sizeof(struct sockaddr_in6));
			if (ret < 0) {
				shell_fprintf(shell, SHELL_WARNING,
					 "Cannot bind IPv6 UDP port %d (%d)\n",
					      ntohs(in6_addr_my->sin6_port),
					      ret);
				return;
			}
		}
	}

	if (IS_ENABLED(CONFIG_NET_IPV6)) {
		ret = net_context_recv(context6, udp_received, K_NO_WAIT,
				       (void *)shell);
		if (ret < 0) {
			shell_fprintf(shell, SHELL_WARNING,
				      "Cannot receive IPv6 UDP packets\n");
			return;
		}
	}

	if (IS_ENABLED(CONFIG_NET_IPV4)) {
		ret = net_context_recv(context4, udp_received, K_NO_WAIT,
				       (void *)shell);
		if (ret < 0) {
			shell_fprintf(shell, SHELL_WARNING,
				      "Cannot receive IPv4 UDP packets\n");
			return;
		}
	}

	shell_fprintf(shell, SHELL_NORMAL,
		      "Listening on port %d\n", port);
}
```

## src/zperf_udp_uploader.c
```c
/*
 * Copyright (c) 2015 Intel Corporation
 *
 * SPDX-License-Identifier: Apache-2.0
 */

#include <logging/log.h>
LOG_MODULE_DECLARE(net_zperf_sample, LOG_LEVEL_DBG);

#include <zephyr.h>

#include <sys/printk.h>

#include <net/net_core.h>
#include <net/net_ip.h>
#include <net/net_pkt.h>

#include "zperf.h"
#include "zperf_internal.h"

static uint8_t sample_packet[sizeof(struct zperf_udp_datagram) +
			  sizeof(struct zperf_client_hdr_v1) +
			  PACKET_SIZE_MAX];

static inline void zperf_upload_decode_stat(const struct shell *shell,
					    struct net_pkt *pkt,
					    struct zperf_results *results)
{
	NET_PKT_DATA_ACCESS_DEFINE(zperf_udp, struct zperf_udp_datagram);
	NET_PKT_DATA_ACCESS_DEFINE(zperf_stat, struct zperf_server_hdr);
	struct zperf_udp_datagram *hdr;
	struct zperf_server_hdr *stat;

	hdr = (struct zperf_udp_datagram *)
		net_pkt_get_data(pkt, &zperf_udp);
	if (!hdr) {
		shell_fprintf(shell, SHELL_WARNING,
			      "Network packet too short\n");
		return;
	}

	net_pkt_acknowledge_data(pkt, &zperf_udp);

	stat = (struct zperf_server_hdr *)
		net_pkt_get_data(pkt, &zperf_stat);
	if (!stat) {
		shell_fprintf(shell, SHELL_WARNING,
			      "Network packet too short\n");
		return;
	}

	results->nb_packets_rcvd = ntohl(UNALIGNED_GET(&stat->datagrams));
	results->nb_packets_lost = ntohl(UNALIGNED_GET(&stat->error_cnt));
	results->nb_packets_outorder =
		ntohl(UNALIGNED_GET(&stat->outorder_cnt));
	results->nb_bytes_sent = ntohl(UNALIGNED_GET(&stat->total_len2));
	results->time_in_us = ntohl(UNALIGNED_GET(&stat->stop_usec)) +
		ntohl(UNALIGNED_GET(&stat->stop_sec)) * USEC_PER_SEC;
	results->jitter_in_us = ntohl(UNALIGNED_GET(&stat->jitter2)) +
		ntohl(UNALIGNED_GET(&stat->jitter1)) * USEC_PER_SEC;
}

static void stat_received(struct net_context *context,
			  struct net_pkt *pkt,
			  union net_ip_header *ip_hdr,
			  union net_proto_header *proto_hdr,
			  int status,
			  void *user_data)
{
	struct net_pkt **stat = user_data;

	*stat = pkt;
}

static inline void zperf_upload_fin(const struct shell *shell,
				    struct net_context *context,
				    uint32_t nb_packets,
				    uint64_t end_time,
				    uint32_t packet_size,
				    struct zperf_results *results)
{
	struct net_pkt *stat = NULL;
	struct zperf_udp_datagram *datagram;
	struct zperf_client_hdr_v1 *hdr;
	uint32_t secs = k_ticks_to_ms_ceil32(end_time) / 1000U;
	uint32_t usecs = k_ticks_to_us_ceil32(end_time) - secs * USEC_PER_SEC;
	int loop = 2;
	int ret;

	while (!stat && loop-- > 0) {
		datagram = (struct zperf_udp_datagram *)sample_packet;

		/* Fill the packet header */
		datagram->id = htonl(-nb_packets);
		datagram->tv_sec = htonl(secs);
		datagram->tv_usec = htonl(usecs);

		hdr = (struct zperf_client_hdr_v1 *)(sample_packet +
						     sizeof(*datagram));

		/* According to iperf documentation (in include/Settings.hpp),
		 * if the flags == 0, then the other values are ignored.
		 * But even if the values in the header are ignored, try
		 * to set there some meaningful values.
		 */
		hdr->flags = 0;
		hdr->num_of_threads = htonl(1);
		hdr->port = 0;
		hdr->buffer_len = sizeof(sample_packet) -
			sizeof(*datagram) - sizeof(*hdr);
		hdr->bandwidth = 0;
		hdr->num_of_bytes = htonl(packet_size);

		/* Send the packet */
		ret = net_context_send(context, sample_packet, packet_size,
				       NULL, K_NO_WAIT, NULL);
		if (ret < 0) {
			shell_fprintf(shell, SHELL_WARNING,
				      "Failed to send the packet (%d)\n",
				      ret);
			continue;
		}

		/* Receive statistics */
		stat = NULL;

		ret = net_context_recv(context, stat_received,
				       K_SECONDS(2), &stat);
		if (ret == -ETIMEDOUT) {
			break;
		}
	}

	/* Decode statistics */
	if (stat) {
		zperf_upload_decode_stat(shell, stat, results);

		net_pkt_unref(stat);
	}

	/* Drain RX */
	while (stat) {
		stat = NULL;

		ret = net_context_recv(context, stat_received,
				       K_NO_WAIT, &stat);
		if (ret == -ETIMEDOUT) {
			break;
		}

		if (stat) {
			shell_fprintf(shell, SHELL_WARNING,
				      "Drain one spurious stat packet!\n");

			net_pkt_unref(stat);
		}
	}
}

void zperf_udp_upload(const struct shell *shell,
		      struct net_context *context,
		      int port,
		      unsigned int duration_in_ms,
		      unsigned int packet_size,
		      unsigned int rate_in_kbps,
		      struct zperf_results *results)
{
	uint32_t packet_duration = ((uint32_t)packet_size * 8U * USEC_PER_SEC) /
				   (rate_in_kbps * 1024U);
	uint64_t duration = z_timeout_end_calc(K_MSEC(duration_in_ms));
	int64_t print_interval = z_timeout_end_calc(K_SECONDS(1));
	uint64_t delay = packet_duration;
	uint32_t nb_packets = 0U;
	int64_t start_time, end_time;
	int64_t last_print_time, last_loop_time;
	int64_t remaining, print_info;

	if (packet_size > PACKET_SIZE_MAX) {
		shell_fprintf(shell, SHELL_WARNING,
			      "Packet size too large! max size: %u\n",
			      PACKET_SIZE_MAX);
		packet_size = PACKET_SIZE_MAX;
	} else if (packet_size < sizeof(struct zperf_udp_datagram)) {
		shell_fprintf(shell, SHELL_WARNING,
			      "Packet size set to the min size: %zu\n",
			      sizeof(struct zperf_udp_datagram));
		packet_size = sizeof(struct zperf_udp_datagram);
	}

	if (packet_duration > 1000U) {
		shell_fprintf(shell, SHELL_NORMAL,
			      "Packet duration %u ms\n",
			      (unsigned int)(packet_duration / 1000U));
	} else {
		shell_fprintf(shell, SHELL_NORMAL,
			      "Packet duration %u us\n",
			      (unsigned int)packet_duration);
	}

	/* Start the loop */
	start_time = k_uptime_ticks();
	last_print_time = start_time;
	last_loop_time = start_time;

	(void)memset(sample_packet, 'z', sizeof(sample_packet));

	do {
		struct zperf_udp_datagram *datagram;
		struct zperf_client_hdr_v1 *hdr;
		uint32_t secs, usecs;
		int64_t loop_time;
		int32_t adjust;
		int ret;

		/* Timestamp */
		loop_time = k_uptime_ticks();

		/* Algorithm to maintain a given baud rate */
		if (last_loop_time != loop_time) {
			adjust = (int32_t)(packet_duration -
				   k_ticks_to_us_ceil32(loop_time -
							last_loop_time));
		} else {
			/* It's the first iteration so no need for adjustment
			 */
			adjust = 0;
		}

		if (adjust >= 0) {
			delay += adjust;
		} else if ((uint64_t)-adjust < delay) {
			delay -= (uint64_t)-adjust;
		} else {
			delay = 0U; /* delay should never be negative */
		}

		last_loop_time = loop_time;

		secs = k_ticks_to_ms_ceil32(loop_time) / 1000U;
		usecs = k_ticks_to_us_ceil32(loop_time) - secs * USEC_PER_SEC;

		/* Fill the packet header */
		datagram = (struct zperf_udp_datagram *)sample_packet;

		datagram->id = htonl(nb_packets);
		datagram->tv_sec = htonl(secs);
		datagram->tv_usec = htonl(usecs);

		hdr = (struct zperf_client_hdr_v1 *)(sample_packet +
						     sizeof(*datagram));
		hdr->flags = 0;
		hdr->num_of_threads = htonl(1);
		hdr->port = htonl(port);
		hdr->buffer_len = sizeof(sample_packet) -
			sizeof(*datagram) - sizeof(*hdr);
		hdr->bandwidth = htonl(rate_in_kbps);
		hdr->num_of_bytes = htonl(packet_size);

		/* Send the packet */
		ret = net_context_send(context, sample_packet, packet_size,
				       NULL, K_NO_WAIT, NULL);
		if (ret < 0) {
			shell_fprintf(shell, SHELL_WARNING,
				      "Failed to send the packet (%d)\n",
				      ret);
			break;
		} else {
			nb_packets++;
		}

		/* Print log every seconds */
		print_info = print_interval - k_uptime_ticks();
		if (print_info <= 0) {
			shell_fprintf(shell, SHELL_WARNING,
				    "nb_p=%u d=%u adj=%d \n",
				      nb_packets, (unsigned int)delay,
				      (int)adjust);
			print_interval = z_timeout_end_calc(K_SECONDS(1));
		}

		remaining = duration - k_uptime_ticks();

		/* Wait */
#if defined(CONFIG_ARCH_POSIX)
		k_busy_wait(USEC_PER_MSEC);
#else
		if (delay != 0) {
			if (k_us_to_ticks_floor64(delay) > remaining) {
				delay = k_ticks_to_us_ceil64(remaining);
			}

			k_sleep(K_USEC(delay));
		}
#endif
	} while (remaining > 0);

	end_time = k_uptime_ticks();

	zperf_upload_fin(shell, context, nb_packets, end_time, packet_size,
			 results);

	/* Add result coming from the client */
	results->nb_packets_sent = nb_packets;
	results->client_time_in_us =
				k_ticks_to_us_ceil32(end_time - start_time);
	results->packet_size = packet_size;
}
```
